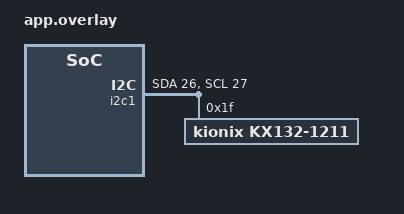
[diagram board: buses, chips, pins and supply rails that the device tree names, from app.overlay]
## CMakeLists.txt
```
# SPDX-License-Identifier: Apache-2.0

cmake_minimum_required(VERSION 3.13.1)
find_package(Zephyr REQUIRED HINTS $ENV{ZEPHYR_BASE})
project(blink-plus-uart)

target_sources(app PRIVATE src/main.c)

## 2021-08-19 THU - add or merge stanzas from pyrinas example driver project:
##  https://github.com/circuitdojo/air-quality-wing-zephyr-drivers/blob/main/CMakeLists.txt

# Subdirectories
add_subdirectory(drivers)
## add_subdirectory_ifdef(CONFIG_AQW lib)

# Include headers
## zephyr_include_directories(include)
zephyr_include_directories(drivers)



## Note per https://interrupt.memfault.com/blog/building-drivers-on-zephyr#adding-a-drivers-folder
##  the above stanza which calls `cmake` function named 'project' sets
##  directory in which this file resides to be given project's root dir.
```

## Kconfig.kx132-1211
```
menu "stage 1 drivers including Kionix"
rsource "drivers/Kconfig"
endmenu
```

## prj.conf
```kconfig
CONFIG_GPIO=y
CONFIG_STDOUT_CONSOLE=y
CONFIG_I2C=y
CONFIG_SENSOR=y

## 2021-08-02 adding stanza per https://learn.sparkfun.com/tutorials/nrf9160-thing-plus-hookup-guide#example---blinky:
## ( This option set yes until we get Segger programmer working - TMH )
CONFIG_BOOTLOADER_MCUBOOT=y

## 2021-08-17 adding configuration flag to enable Kionix driver under CP IIoT development:
CONFIG_KX132_1211=y
```

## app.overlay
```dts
/*
 *  https://community.jaredwolff.com/d/73-accelerometer-example-failing-to-compile-on-feather-v2/2
 *  https://www.youtube.com/watch?v=sWaxQyIgEBY  --- Device Tree Deep Dive
 */

&i2c1 {
        compatible = "nordic,nrf-twim";
        status = "okay";
        sda-pin = <26>;
        scl-pin = <27>;
        kionix_sensor: kx132-1211@1F {
                compatible = "kionix,kx132-1211"; 
                reg = <0x1F>;
                label = "KX132-1211";
        };  
};
```

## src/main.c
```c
/*
 * Copyright (c) 2016 Intel Corporation
 *
 * SPDX-License-Identifier: Apache-2.0
 */

#include <zephyr.h>
#include <device.h>
#include <devicetree.h>
#include <drivers/gpio.h>

// 2021-08-06 - blink-custom first addition of Zephyr functionality:
#include <sys/printk.h>



/* 1000 msec = 1 sec */
#define SLEEP_TIME_MS   1500 // 1000

/* The devicetree node identifier for the "led0" alias. */
#define LED0_NODE DT_ALIAS(led0)

#if DT_NODE_HAS_STATUS(LED0_NODE, okay)
#define LED0     DT_GPIO_LABEL(LED0_NODE, gpios)
#define PIN      DT_GPIO_PIN(LED0_NODE, gpios)
#define FLAGS    DT_GPIO_FLAGS(LED0_NODE, gpios)
#else
/* A build error here means your board isn't set up to blink an LED. */
#error "Unsupported board: led0 devicetree alias is not defined"
#define LED0    ""
#define PIN      0
#define FLAGS    0
#endif


void query_kx132_id(const struct device *dev_ptr_accelerometer, unsigned int options)
{

    if ( dev_ptr_accelerometer != NULL ) { }

    if ( options > 0 ) { }

}


void main(void)
{
    const struct device *dev;
    bool led_is_on = true;
    int ret;
    int main_loop_count = 0;

    dev = device_get_binding(LED0);
    if (dev == NULL) {
        return;
    }

    ret = gpio_pin_configure(dev, PIN, GPIO_OUTPUT_ACTIVE | FLAGS);
    if (ret < 0) {
        return;
    }


    const struct device *dev_accelerometer;
    dev_accelerometer = DEVICE_DT_GET(DT_NODELABEL(kionix_sensor));
    if (dev_accelerometer == NULL) {
        printk("Failed to init Kionix sensor device pointer!\n");
        printk("firmware exiting early, done.\n\n");
        return;
    }
    else
    {
        printk("- SUCCESS - assigned Kionix accelerometer device to pointer,\n");
    }


// 2021-08-11 WED - 
    query_kx132_id(dev_accelerometer, 0);



    while (1) {
        gpio_pin_set(dev, PIN, (int)led_is_on);
        led_is_on = !led_is_on;
        k_msleep(SLEEP_TIME_MS);

//        if ( led_is_on == 0 )
        if ( (main_loop_count % 3) == 0 )
        {
            printk("Hello World! %s\n\n", CONFIG_BOARD);
        }
        else
        {
            printk("Hello World! %s\n", CONFIG_BOARD);
        }

        ++main_loop_count;
    }
}
```
